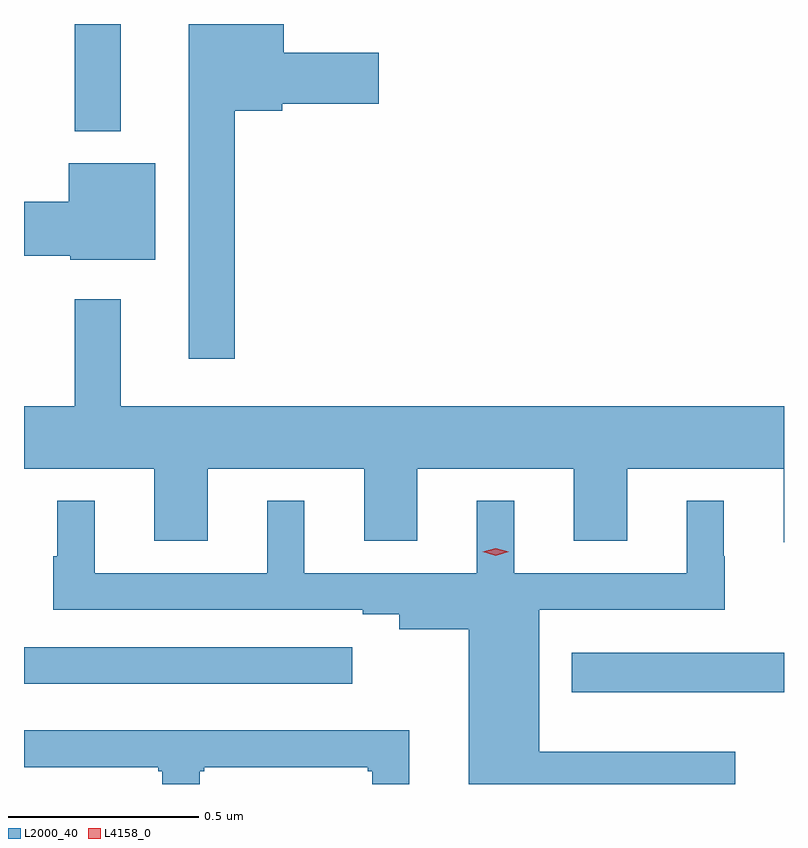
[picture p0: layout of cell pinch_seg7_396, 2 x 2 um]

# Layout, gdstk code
import gdstk
lib = gdstk.Library(unit=1e-6, precision=1e-09)
def R(c, l, rs):  # rectangles x0, y0, x1, y1
    for r in rs: c.add(gdstk.rectangle(r[:2], r[2:], *l))
def P(c, l, *ps):  # polygons
    for p in ps: c.add(gdstk.Polygon(p, *l))
L2000_40 = (2000, 40)
L4158_0 = (4158, 0)

pinch_seg7_396 = lib.new_cell('pinch_seg7_396')
R(pinch_seg7_396, L2000_40, [(487.697,1018.676,488.256,1018.78), (486.256,1018.698,487.12,1018.794), (486.39,1020.152,486.511,1020.434)])
P(pinch_seg7_396, L2000_40, [(486.811,1020.206),(486.936,1020.206),(486.936,1020.224),(487.189,1020.224),(487.189,1020.358),(486.94,1020.358),(486.94,1020.434),(486.689,1020.434),(486.689,1019.553),(486.811,1019.553)],
  [(486.601,1020.067),(486.374,1020.067),(486.374,1019.966),(486.256,1019.966),(486.256,1019.824),(486.378,1019.824),(486.378,1019.813),(486.601,1019.813)],
  [(488.256,1019.428),(486.511,1019.428),(486.511,1019.71),(486.39,1019.71),(486.39,1019.428),(486.256,1019.428),(486.256,1019.264),(486.599,1019.264),(486.599,1019.074),(486.739,1019.074),(486.739,1019.264),(487.151,1019.264),(487.151,1019.074),(487.291,1019.074),(487.291,1019.264),(487.703,1019.264),(487.703,1019.074),(487.843,1019.074),(487.843,1019.264),(488.255,1019.264),(488.255,1019.07),(488.256,1019.07)],
  [(488.128,1018.519),(487.612,1018.519),(487.612,1018.893),(488.1,1018.893),(488.1,1019.033),(488.098,1019.033),(488.098,1019.179),(488,1019.179),(488,1018.989),(487.546,1018.989),(487.546,1019.179),(487.448,1019.179),(487.448,1018.989),(486.994,1018.989),(486.994,1019.179),(486.896,1019.179),(486.896,1018.989),(486.442,1018.989),(486.442,1019.179),(486.344,1019.179),(486.344,1019.033),(486.333,1019.033),(486.333,1018.893),(487.148,1018.893),(487.148,1018.881),(487.244,1018.881),(487.244,1018.841),(487.427,1018.841),(487.427,1018.434),(488.128,1018.434)],
  [(486.718,1018.467),(486.73,1018.467),(486.73,1018.478),(487.161,1018.478),(487.161,1018.467),(487.172,1018.467),(487.172,1018.434),(487.27,1018.434),(487.27,1018.575),(486.256,1018.575),(486.256,1018.478),(486.609,1018.478),(486.609,1018.467),(486.62,1018.467),(486.62,1018.434),(486.718,1018.434)])
P(pinch_seg7_396, L4158_0, [(487.497,1019.035),(487.463,1019.045),(487.462,1019.045),(487.463,1019.045),(487.497,1019.055),(487.532,1019.045),(487.532,1019.045),(487.532,1019.045)])

lib.write_gds('pinch_seg7_396.gds')
